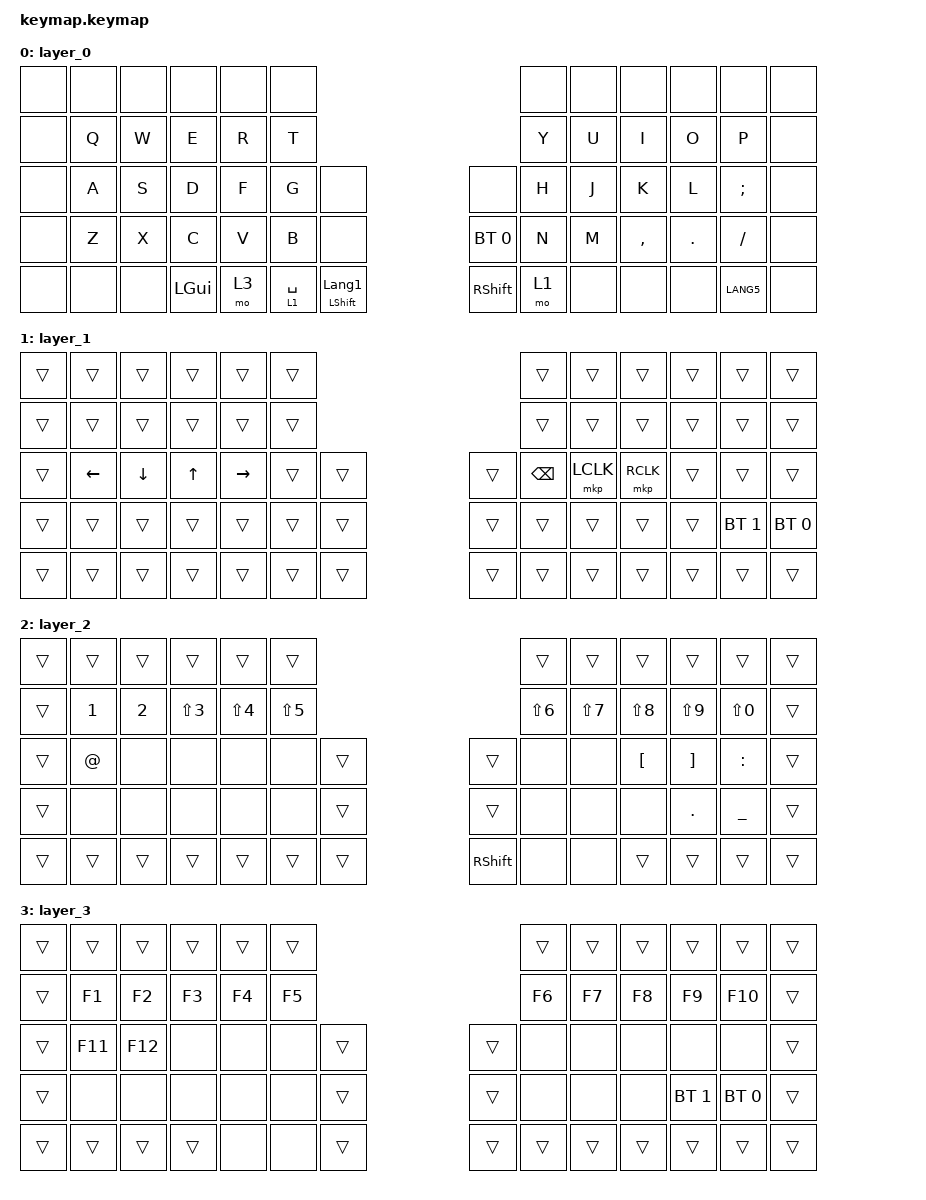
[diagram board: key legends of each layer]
#include <behaviors.dtsi>
#include <dt-bindings/zmk/bt.h>
#include <dt-bindings/zmk/keys.h>
#include <dt-bindings/zmk/pointing.h>

/ {
    combos {
        compatible = "zmk,combos";

        bt_clear {
            bindings = <&bt BT_CLR>;
            key-positions = <28 29>;
            layers = <2>;
        };
    };

    keymap {
        compatible = "zmk,keymap";

        layer_0 {
            bindings = <
&none  &none  &none  &none         &none  &none                                                    &none  &none  &none      &none    &none      &none
&none  &kp Q  &kp W  &kp E         &kp R  &kp T                                                    &kp Y  &kp U  &kp I      &kp O    &kp P      &none
&none  &kp A  &kp S  &kp D         &kp F  &kp G        &none                      &none            &kp H  &kp J  &kp K      &kp L    &kp SEMI   &none
&none  &kp Z  &kp X  &kp C         &kp V  &kp B        &none                      &bt BT_SEL 0     &kp N  &kp M  &kp COMMA  &kp DOT  &kp SLASH  &none
&none  &none  &none  &kp LEFT_GUI  &mo 3  &lt 1 SPACE  &mt LEFT_SHIFT LANGUAGE_1  &kp RIGHT_SHIFT  &mo 1  &none  &none      &none    &kp LANG5  &none
            >;
        };

        layer_1 {
            bindings = <
&trans  &trans    &trans    &trans  &trans     &trans                  &trans         &trans     &trans     &trans  &trans        &trans
&trans  &trans    &trans    &trans  &trans     &trans                  &trans         &trans     &trans     &trans  &trans        &trans
&trans  &kp LEFT  &kp DOWN  &kp UP  &kp RIGHT  &trans  &trans  &trans  &kp BACKSPACE  &mkp LCLK  &mkp RCLK  &trans  &trans        &trans
&trans  &trans    &trans    &trans  &trans     &trans  &trans  &trans  &trans         &trans     &trans     &trans  &bt BT_SEL 1  &bt BT_SEL 0
&trans  &trans    &trans    &trans  &trans     &trans  &trans  &trans  &trans         &trans     &trans     &trans  &trans        &trans
            >;
        };

        layer_2 {
            bindings = <
&trans  &trans        &trans        &trans      &trans      &trans                               &trans      &trans      &trans            &trans             &trans          &trans
&trans  &kp NUMBER_1  &kp NUMBER_2  &kp LS(N3)  &kp LS(N4)  &kp LS(N5)                           &kp LS(N6)  &kp LS(N7)  &kp LS(N8)        &kp LS(N9)         &kp LS(N0)      &trans
&trans  &kp AT_SIGN   &none         &none       &none       &none       &trans  &trans           &none       &none       &kp LEFT_BRACKET  &kp RIGHT_BRACKET  &kp COLON       &trans
&trans  &none         &none         &none       &none       &none       &trans  &trans           &none       &none       &none             &kp PERIOD         &kp UNDERSCORE  &trans
&trans  &trans        &trans        &trans      &trans      &trans      &trans  &kp RIGHT_SHIFT  &none       &none       &trans            &trans             &trans          &trans
            >;
        };

        layer_3 {
            bindings = <
&trans  &trans   &trans   &trans  &trans  &trans                  &trans  &trans  &trans  &trans        &trans        &trans
&trans  &kp F1   &kp F2   &kp F3  &kp F4  &kp F5                  &kp F6  &kp F7  &kp F8  &kp F9        &kp F10       &trans
&trans  &kp F11  &kp F12  &none   &none   &none   &trans  &trans  &none   &none   &none   &none         &none         &trans
&trans  &none    &none    &none   &none   &none   &trans  &trans  &none   &none   &none   &bt BT_SEL 1  &bt BT_SEL 0  &trans
&trans  &trans   &trans   &trans  &none   &none   &trans  &trans  &trans  &trans  &trans  &trans        &trans        &trans
            >;
        };
    };
};
